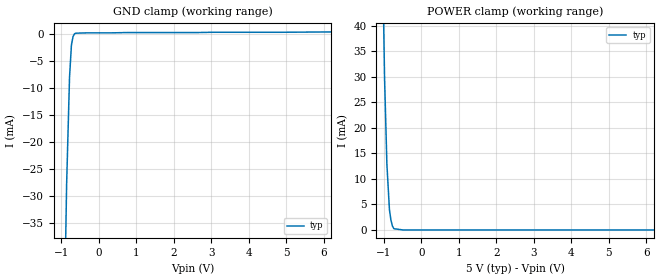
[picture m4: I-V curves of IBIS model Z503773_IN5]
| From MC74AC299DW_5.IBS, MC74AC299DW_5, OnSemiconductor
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| (C) COPYRIGHT 1993-2000
| MENTOR GRAPHICS CORPORATION
| ICX STANDARD LIBRARY, ICX PROJECT MODELING,
| ICX CUSTOM MODELING, ICX VENDOR MODEL
| ALL RIGHTS RESERVED.
| THE FOLLOWING ARE TRADEMARKS OR SERVICE MARKS OF
| MENTOR GRAPHICS CORPORATION:ICX (R), ICX STANDARD
| LIBRARY(R), ICX PROJECT MODELING(R), ICX CUSTOM
| MODELING(R), qualityIBIS(TM), MODELVIEWER(TM),
| AND MODELEDITOR(TM)
| ALL COPIES OF SOFTWARE, INCLUDING BUT NOT LIMITED TO
| ANY MODIFICATIONS, ENHANCEMENTS OR DERIVATIVE WORKS,
| MUST CONTAIN ALL MENTOR GRAPHICS CORPORATION'S
| NOTICES AND LEGENDS, INCLUDING THOSE EMBEDDED IN
| SOFTWARE AND THOSE AFFIXED TO SOFTWARE MEDIUM
| AND CONTAINER, AS RECEIVED FROM MENTOR GRAPHICS
| CORPORATION.
| Model Application Version 1.89 2/18/99.
[Model] Z503773_IN5
Model_type Input
Vinl = 1.500V
Vinh = 3.500V
C_comp 4.000pF NA NA
| variable typ   min   max
[Voltage Range] 5.000V NA NA
[GND Clamp Reference] 0.000V NA NA
[POWER Clamp Reference] 5.000V NA NA
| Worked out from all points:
|   GND clamp passes 1 mA (typ) near -0.70 V on its own axis
|   POWER clamp passes 1 mA (typ) near -0.78 V on its own axis
[GND Clamp]
-5V       -3.929A    NA         NA
-1.01V    -89.85mA   NA         NA
-858.8mV  -27.94mA   NA         NA
-781.3mV  -8.075mA   NA         NA
-730.4mV  -2.067mA   NA         NA
-687.4mV  -518.9uA   NA         NA
-648.3mV  -4.628uA   NA         NA
-610.3mV  105.7uA    NA         NA
10V       515.2uA    NA         NA
[POWER Clamp]
-5V       2.779A     NA         NA
-1.25V    171mA      NA         NA
-1.115V   90.85mA    NA         NA
-981mV    29.94mA    NA         NA
-918mV    12.85mA    NA         NA
-850mV    3.963mA    NA         NA
-811mV    1.944mA    NA         NA
-771mV    784.9uA    NA         NA
-732mV    247.5uA    NA         NA
-488mV    0A         NA         NA
10V       0A         NA         NA
